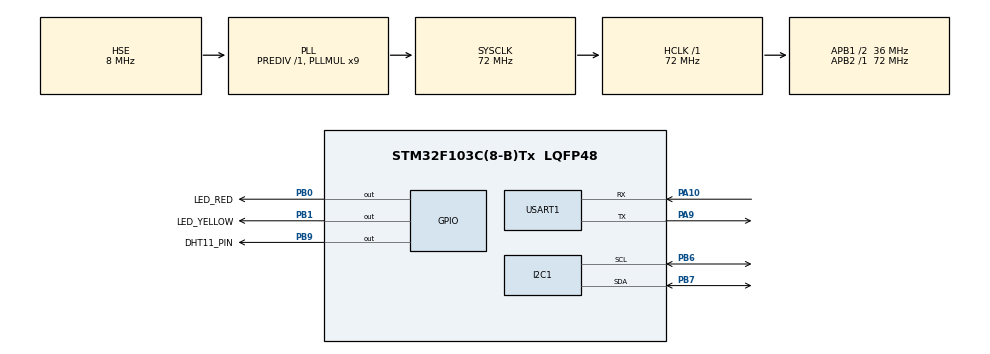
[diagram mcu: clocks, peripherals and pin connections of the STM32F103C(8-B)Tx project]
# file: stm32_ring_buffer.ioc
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Mcu.Family=STM32F1
Mcu.Name=STM32F103C(8-B)Tx
Mcu.Package=LQFP48
NVIC.PriorityGroup=NVIC_PRIORITYGROUP_4
NVIC.USART1_IRQn=true\:0\:0\:false\:false\:true\:true\:true\:true
PA10.Mode=Asynchronous
PA10.Signal=USART1_RX
PA13.Mode=Serial_Wire
PA13.Signal=SYS_JTMS-SWDIO
PA14.Mode=Serial_Wire
PA14.Signal=SYS_JTCK-SWCLK
PA9.Mode=Asynchronous
PA9.Signal=USART1_TX
PB0.GPIO_Label=LED_RED
PB0.PinState=GPIO_PIN_RESET
PB0.Signal=GPIO_Output
PB1.GPIO_Label=LED_YELLOW
PB1.Signal=GPIO_Output
PB6.Mode=I2C
PB6.Signal=I2C1_SCL
PB7.Mode=I2C
PB7.Signal=I2C1_SDA
PB9.GPIO_Label=DHT11_PIN
PB9.PinState=GPIO_PIN_SET
PB9.Signal=GPIO_Output
PD0-OSC_IN.Mode=HSE-External-Oscillator
PD0-OSC_IN.Signal=RCC_OSC_IN
PD1-OSC_OUT.Mode=HSE-External-Oscillator
PD1-OSC_OUT.Signal=RCC_OSC_OUT
ProjectManager.HeapSize=0x200
ProjectManager.StackSize=0x400
ProjectManager.TargetToolchain=MDK-ARM V5.32
RCC.AHBFreq_Value=72000000
RCC.APB1CLKDivider=RCC_HCLK_DIV2
RCC.APB1Freq_Value=36000000
RCC.APB1TimFreq_Value=72000000
RCC.APB2Freq_Value=72000000
RCC.APB2TimFreq_Value=72000000
RCC.HCLKFreq_Value=72000000
RCC.PLLMUL=RCC_PLL_MUL9
RCC.PLLSourceVirtual=RCC_PLLSOURCE_HSE
RCC.SYSCLKFreq_VALUE=72000000
RCC.SYSCLKSource=RCC_SYSCLKSOURCE_PLLCLK
RCC.USBFreq_Value=72000000
TIM1.Period=65534
TIM1.Prescaler=71
TIM4.Period=65534
TIM4.Prescaler=71
USART1.VirtualMode=VM_ASYNC
VP_TIM1_VS_ClockSourceINT.Mode=Internal
VP_TIM4_VS_ClockSourceINT.Mode=Internal
board=custom

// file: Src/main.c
/* USER CODE BEGIN Header */
/**
  ******************************************************************************
  * @file           : main.c
  * @brief          : Main program body
  ******************************************************************************
  * @attention
  *
  * Copyright (c) 2023 STMicroelectronics.
  * All rights reserved.
  *
  * This software is licensed under terms that can be found in the LICENSE file
  * in the root directory of this software component.
  * If no LICENSE file comes with this software, it is provided AS-IS.
  *
  ******************************************************************************
  */
/* USER CODE END Header */
#include "main.h"

/* USER CODE BEGIN Includes */
//#include "UartRingbuffer.h"
#include "liquidcrystal_i2c.h"
#include "DHT.h"
#include "stdio.h"
/* USER CODE END Includes */

I2C_HandleTypeDef hi2c1;

TIM_HandleTypeDef htim1;
TIM_HandleTypeDef htim4;

UART_HandleTypeDef huart1;

/* USER CODE BEGIN PV */
DHT_Name DHT1;
/* USER CODE END PV */

void SystemClock_Config(void);
static void MX_GPIO_Init(void);
static void MX_USART1_UART_Init(void);
static void MX_I2C1_Init(void);
static void MX_TIM1_Init(void);
static void MX_TIM4_Init(void);

int main(void)
{
  /* USER CODE BEGIN 1 */
	int temp;
	int humi;

	char str_temp[10];
	char str_humi[10];
  /* USER CODE END 1 */

  /* MCU Configuration--------------------------------------------------------*/

  /* Reset of all peripherals, Initializes the Flash interface and the Systick. */
  HAL_Init();

  /* Configure the system clock */
  SystemClock_Config();

  /* Initialize all configured peripherals */
  MX_GPIO_Init();
  MX_USART1_UART_Init();
  MX_I2C1_Init();
  MX_TIM1_Init();
  MX_TIM4_Init();
  /* USER CODE BEGIN 2 */
  LCD_Init(2);
  DHT_Init(&DHT1,DHT11,&htim1,GPIOB,GPIO_PIN_9);
  LCD_Clear();
  LCD_Backlight();
  LCD_PrintStr("set");
  LCD_Cursor();

  /* USER CODE END 2 */

  /* Infinite loop */
  /* USER CODE BEGIN WHILE */
  while (1)
  {
	  //LCD_Clear();
	  DHT_ReadTempHum(&DHT1);
	  temp = (int)DHT1.Temp;
	  humi = (int)DHT1.Humi;

	  sprintf(str_temp,"%d",temp);
	  sprintf(str_humi,"%d",humi);

	  LCD_PrintStr(str_temp);
	  LCD_SetCursor(0,1);
	  LCD_PrintStr(str_humi);
	  HAL_Delay(1000);
    /* USER CODE END WHILE */

  }
}

void SystemClock_Config(void)
{
  RCC_OscInitTypeDef RCC_OscInitStruct = {0};
  RCC_ClkInitTypeDef RCC_ClkInitStruct = {0};

  /** Initializes the RCC Oscillators according to the specified parameters
  * in the RCC_OscInitTypeDef structure.
  */
  RCC_OscInitStruct.OscillatorType = RCC_OSCILLATORTYPE_HSE;
  RCC_OscInitStruct.HSEState = RCC_HSE_ON;
  RCC_OscInitStruct.HSEPredivValue = RCC_HSE_PREDIV_DIV1;
  RCC_OscInitStruct.HSIState = RCC_HSI_ON;
  RCC_OscInitStruct.PLL.PLLState = RCC_PLL_ON;
  RCC_OscInitStruct.PLL.PLLSource = RCC_PLLSOURCE_HSE;
  RCC_OscInitStruct.PLL.PLLMUL = RCC_PLL_MUL9;
  if (HAL_RCC_OscConfig(&RCC_OscInitStruct) != HAL_OK)
  {
    Error_Handler();
  }

  /** Initializes the CPU, AHB and APB buses clocks
  */
  RCC_ClkInitStruct.ClockType = RCC_CLOCKTYPE_HCLK|RCC_CLOCKTYPE_SYSCLK
                              |RCC_CLOCKTYPE_PCLK1|RCC_CLOCKTYPE_PCLK2;
  RCC_ClkInitStruct.SYSCLKSource = RCC_SYSCLKSOURCE_PLLCLK;
  RCC_ClkInitStruct.AHBCLKDivider = RCC_SYSCLK_DIV1;
  RCC_ClkInitStruct.APB1CLKDivider = RCC_HCLK_DIV2;
  RCC_ClkInitStruct.APB2CLKDivider = RCC_HCLK_DIV1;

  if (HAL_RCC_ClockConfig(&RCC_ClkInitStruct, FLASH_LATENCY_2) != HAL_OK)
  {
    Error_Handler();
  }
}

static void MX_I2C1_Init(void)
{

  hi2c1.Instance = I2C1;
  hi2c1.Init.ClockSpeed = 100000;
  hi2c1.Init.DutyCycle = I2C_DUTYCYCLE_2;
  hi2c1.Init.OwnAddress1 = 0;
  hi2c1.Init.AddressingMode = I2C_ADDRESSINGMODE_7BIT;
  hi2c1.Init.DualAddressMode = I2C_DUALADDRESS_DISABLE;
  hi2c1.Init.OwnAddress2 = 0;
  hi2c1.Init.GeneralCallMode = I2C_GENERALCALL_DISABLE;
  hi2c1.Init.NoStretchMode = I2C_NOSTRETCH_DISABLE;
  if (HAL_I2C_Init(&hi2c1) != HAL_OK)
  {
    Error_Handler();
  }

}

static void MX_TIM1_Init(void)
{

  TIM_ClockConfigTypeDef sClockSourceConfig = {0};
  TIM_MasterConfigTypeDef sMasterConfig = {0};

  htim1.Instance = TIM1;
  htim1.Init.Prescaler = 71;
  htim1.Init.CounterMode = TIM_COUNTERMODE_UP;
  htim1.Init.Period = 65534;
  htim1.Init.ClockDivision = TIM_CLOCKDIVISION_DIV1;
  htim1.Init.RepetitionCounter = 0;
  htim1.Init.AutoReloadPreload = TIM_AUTORELOAD_PRELOAD_DISABLE;
  if (HAL_TIM_Base_Init(&htim1) != HAL_OK)
  {
    Error_Handler();
  }
  sClockSourceConfig.ClockSource = TIM_CLOCKSOURCE_INTERNAL;
  if (HAL_TIM_ConfigClockSource(&htim1, &sClockSourceConfig) != HAL_OK)
  {
    Error_Handler();
  }
  sMasterConfig.MasterOutputTrigger = TIM_TRGO_RESET;
  sMasterConfig.MasterSlaveMode = TIM_MASTERSLAVEMODE_DISABLE;
  if (HAL_TIMEx_MasterConfigSynchronization(&htim1, &sMasterConfig) != HAL_OK)
  {
    Error_Handler();
  }

}

static void MX_TIM4_Init(void)
{

  TIM_ClockConfigTypeDef sClockSourceConfig = {0};
  TIM_MasterConfigTypeDef sMasterConfig = {0};

  htim4.Instance = TIM4;
  htim4.Init.Prescaler = 71;
  htim4.Init.CounterMode = TIM_COUNTERMODE_UP;
  htim4.Init.Period = 65534;
  htim4.Init.ClockDivision = TIM_CLOCKDIVISION_DIV1;
  htim4.Init.AutoReloadPreload = TIM_AUTORELOAD_PRELOAD_DISABLE;
  if (HAL_TIM_Base_Init(&htim4) != HAL_OK)
  {
    Error_Handler();
  }
  sClockSourceConfig.ClockSource = TIM_CLOCKSOURCE_INTERNAL;
  if (HAL_TIM_ConfigClockSource(&htim4, &sClockSourceConfig) != HAL_OK)
  {
    Error_Handler();
  }
  sMasterConfig.MasterOutputTrigger = TIM_TRGO_RESET;
  sMasterConfig.MasterSlaveMode = TIM_MASTERSLAVEMODE_DISABLE;
  if (HAL_TIMEx_MasterConfigSynchronization(&htim4, &sMasterConfig) != HAL_OK)
  {
    Error_Handler();
  }

}

static void MX_USART1_UART_Init(void)
{

  huart1.Instance = USART1;
  huart1.Init.BaudRate = 115200;
  huart1.Init.WordLength = UART_WORDLENGTH_8B;
  huart1.Init.StopBits = UART_STOPBITS_1;
  huart1.Init.Parity = UART_PARITY_NONE;
  huart1.Init.Mode = UART_MODE_TX_RX;
  huart1.Init.HwFlowCtl = UART_HWCONTROL_NONE;
  huart1.Init.OverSampling = UART_OVERSAMPLING_16;
  if (HAL_UART_Init(&huart1) != HAL_OK)
  {
    Error_Handler();
  }

}

static void MX_GPIO_Init(void)
{
  GPIO_InitTypeDef GPIO_InitStruct = {0};

  /* GPIO Ports Clock Enable */
  __HAL_RCC_GPIOD_CLK_ENABLE();
  __HAL_RCC_GPIOB_CLK_ENABLE();
  __HAL_RCC_GPIOA_CLK_ENABLE();

  /*Configure GPIO pin Output Level */
  HAL_GPIO_WritePin(GPIOB, LED_RED_Pin|LED_YELLOW_Pin|DHT11_PIN_Pin, GPIO_PIN_RESET);

  /*Configure GPIO pins : LED_RED_Pin LED_YELLOW_Pin DHT11_PIN_Pin */
  GPIO_InitStruct.Pin = LED_RED_Pin|LED_YELLOW_Pin|DHT11_PIN_Pin;
  GPIO_InitStruct.Mode = GPIO_MODE_OUTPUT_PP;
  GPIO_InitStruct.Pull = GPIO_NOPULL;
  GPIO_InitStruct.Speed = GPIO_SPEED_FREQ_LOW;
  HAL_GPIO_Init(GPIOB, &GPIO_InitStruct);

}

void Error_Handler(void)
{
  __disable_irq();
  while (1)
  {
  }
}
